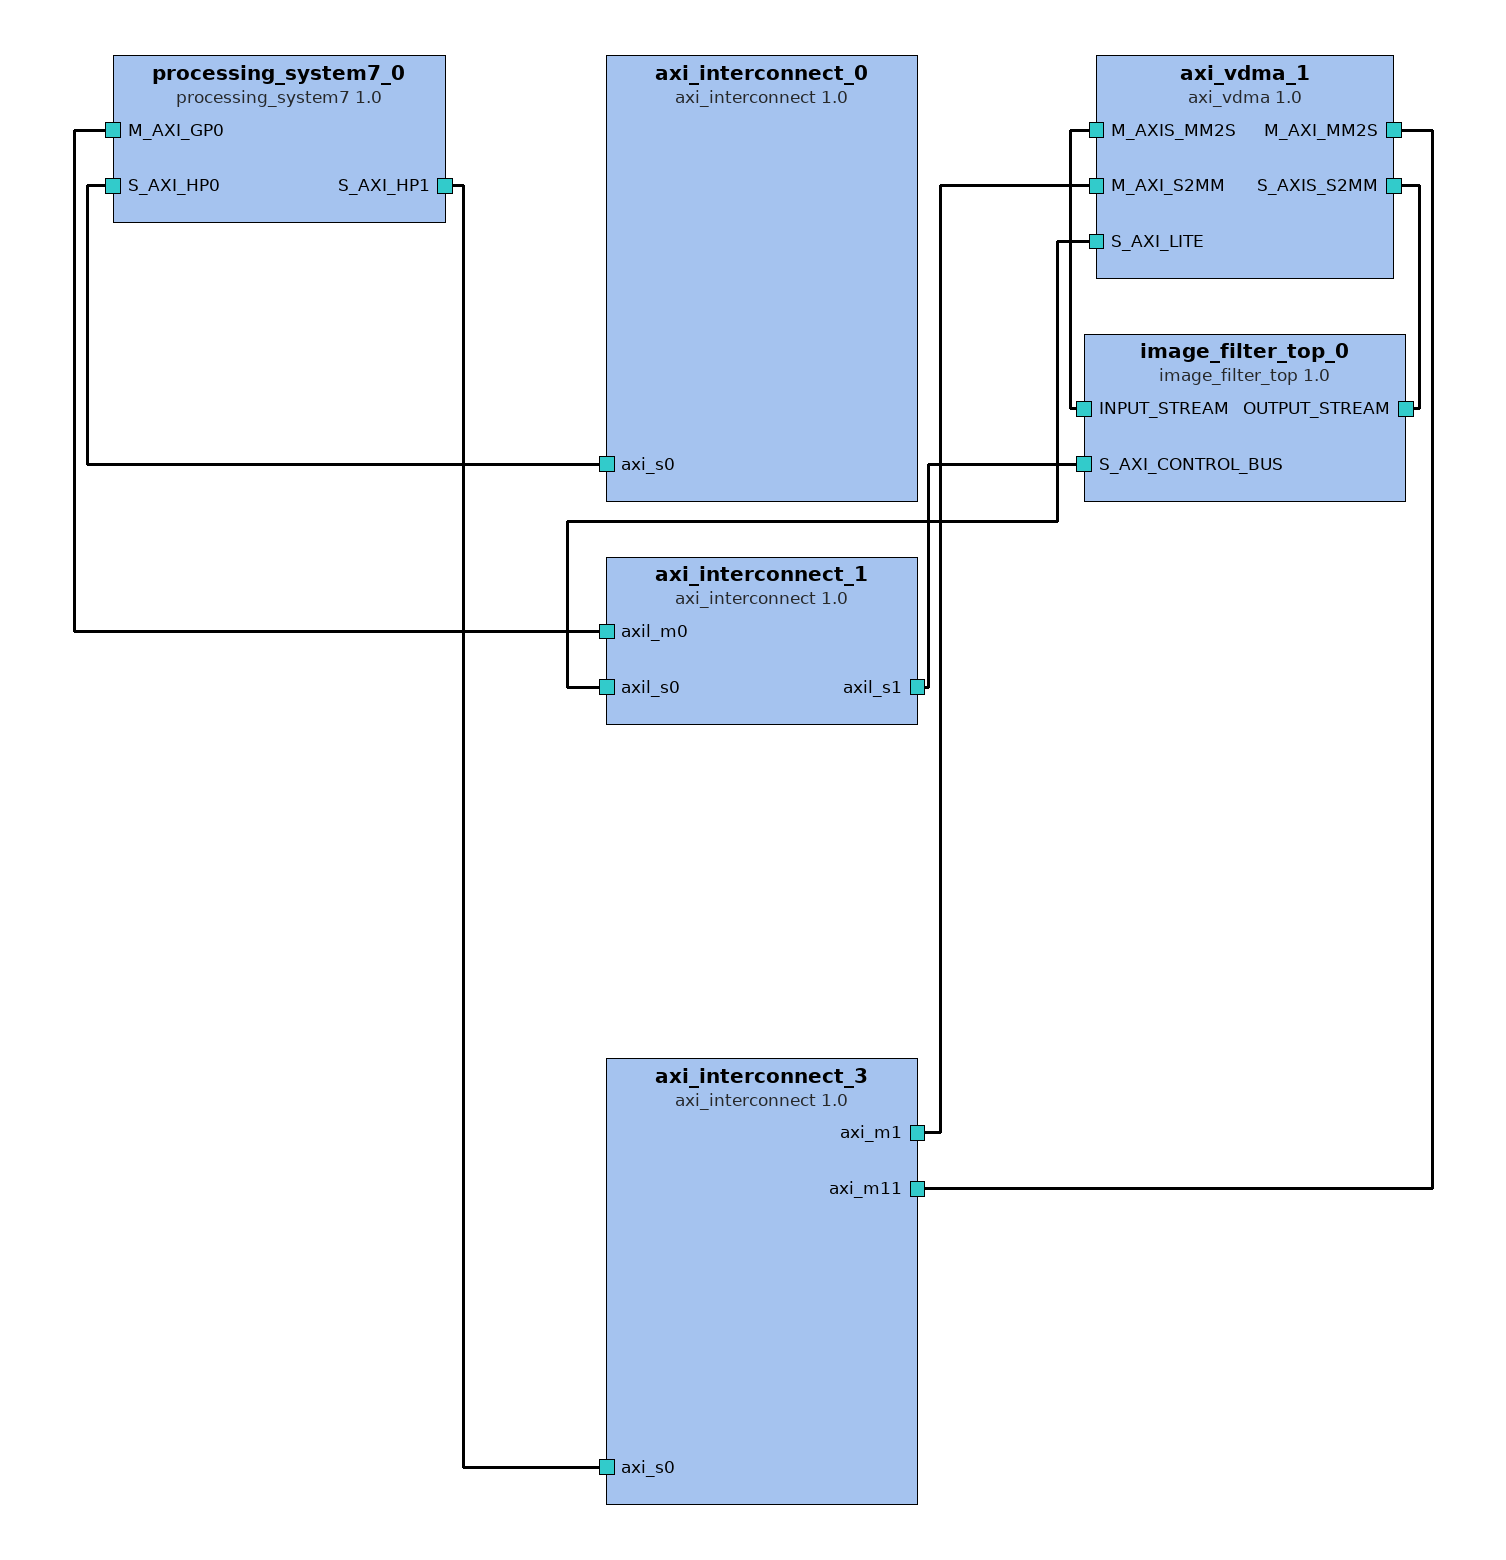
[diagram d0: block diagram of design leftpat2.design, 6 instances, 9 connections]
<?xml version="1.0" encoding="UTF-8"?>
<!-- Created by Kactus215:16:51 18.06.2014 -->
<spirit:design xmlns:kactus2="http://funbase.cs.tut.fi/" xmlns:spirit="http://www.spiritconsortium.org/XMLSchema/SPIRIT/1.5" xmlns:xsi="http://www.w3.org/2001/XMLSchema-instance" xsi:schemaLocation="http://www.spiritconsortium.org/XMLSchema/SPIRIT/1.5 http://www.spiritconsortium.org/XMLSchema/SPIRIT/1.5/index.xsd"><spirit:vendor>ARM</spirit:vendor><spirit:library>design</spirit:library><spirit:name>leftpat2.design</spirit:name>
 <spirit:version>1.0</spirit:version><spirit:componentInstances>
 <spirit:componentInstance><spirit:instanceName>image_filter_top_0</spirit:instanceName><spirit:componentRef spirit:vendor="ARM" spirit:library="ip" spirit:name="image_filter_top" spirit:version="1.0"/></spirit:componentInstance>
 <spirit:componentInstance><spirit:instanceName>axi_vdma_1</spirit:instanceName><spirit:componentRef spirit:vendor="ARM" spirit:library="ip" spirit:name="axi_vdma" spirit:version="1.0"/></spirit:componentInstance>
 <spirit:componentInstance><spirit:instanceName>axi_interconnect_3</spirit:instanceName><spirit:componentRef spirit:vendor="ARM" spirit:library="bus" spirit:name="axi_interconnect" spirit:version="1.0"/></spirit:componentInstance>
 <spirit:componentInstance><spirit:instanceName>axi_interconnect_0</spirit:instanceName><spirit:componentRef spirit:vendor="ARM" spirit:library="bus" spirit:name="axi_interconnect" spirit:version="1.0"/></spirit:componentInstance>
 <spirit:componentInstance><spirit:instanceName>axi_interconnect_1</spirit:instanceName><spirit:componentRef spirit:vendor="ARM" spirit:library="bus" spirit:name="axi_interconnect" spirit:version="1.0"/></spirit:componentInstance>
 <spirit:componentInstance><spirit:instanceName>processing_system7_0</spirit:instanceName><spirit:componentRef spirit:vendor="ARM" spirit:library="ip" spirit:name="processing_system7" spirit:version="1.0"/></spirit:componentInstance>
</spirit:componentInstances><spirit:interconnections>
 <spirit:interconnection><spirit:name>axi_vdma_1_M_AXI_MM2S_to_axi_interconnect_3_axi_m11</spirit:name><spirit:activeInterface spirit:componentRef="axi_vdma_1" spirit:busRef="M_AXI_MM2S"/><spirit:activeInterface spirit:componentRef="axi_interconnect_3" spirit:busRef="axi_m11"/></spirit:interconnection>
 <spirit:interconnection><spirit:name>axi_vdma_1_M_AXI_S2MM_to_axi_interconnect_3_axi_m1</spirit:name><spirit:activeInterface spirit:componentRef="axi_vdma_1" spirit:busRef="M_AXI_S2MM"/><spirit:activeInterface spirit:componentRef="axi_interconnect_3" spirit:busRef="axi_m1"/></spirit:interconnection>
 <spirit:interconnection><spirit:name>image_filter_top_0_OUTPUT_STREAM_to_axi_vdma_1_S_AXIS_S2MM</spirit:name><spirit:activeInterface spirit:componentRef="image_filter_top_0" spirit:busRef="OUTPUT_STREAM"/><spirit:activeInterface spirit:componentRef="axi_vdma_1" spirit:busRef="S_AXIS_S2MM"/></spirit:interconnection>
 <spirit:interconnection><spirit:name>image_filter_top_0_INPUT_STREAM_to_axi_vdma_1_M_AXIS_MM2S</spirit:name><spirit:activeInterface spirit:componentRef="image_filter_top_0" spirit:busRef="INPUT_STREAM"/><spirit:activeInterface spirit:componentRef="axi_vdma_1" spirit:busRef="M_AXIS_MM2S"/></spirit:interconnection>
 <spirit:interconnection><spirit:name>image_filter_top_0_S_AXI_CONTROL_BUS_to_axi_interconnect_1_axil_s1</spirit:name><spirit:activeInterface spirit:componentRef="image_filter_top_0" spirit:busRef="S_AXI_CONTROL_BUS"/><spirit:activeInterface spirit:componentRef="axi_interconnect_1" spirit:busRef="axil_s1"/></spirit:interconnection>
 <spirit:interconnection><spirit:name>axi_vdma_1_S_AXI_LITE_to_axi_interconnect_1_axil_s0</spirit:name><spirit:activeInterface spirit:componentRef="axi_vdma_1" spirit:busRef="S_AXI_LITE"/><spirit:activeInterface spirit:componentRef="axi_interconnect_1" spirit:busRef="axil_s0"/></spirit:interconnection>
 <spirit:interconnection><spirit:name>processing_system7_0_S_AXI_HP1_to_axi_interconnect_3_axi_s0</spirit:name><spirit:activeInterface spirit:componentRef="processing_system7_0" spirit:busRef="S_AXI_HP1"/><spirit:activeInterface spirit:componentRef="axi_interconnect_3" spirit:busRef="axi_s0"/></spirit:interconnection>
 <spirit:interconnection><spirit:name>processing_system7_0_S_AXI_HP0_to_axi_interconnect_0_axi_s0</spirit:name><spirit:activeInterface spirit:componentRef="processing_system7_0" spirit:busRef="S_AXI_HP0"/><spirit:activeInterface spirit:componentRef="axi_interconnect_0" spirit:busRef="axi_s0"/></spirit:interconnection>
 <spirit:interconnection><spirit:name>processing_system7_0_M_AXI_GP0_to_axi_interconnect_1_axil_m0</spirit:name><spirit:activeInterface spirit:componentRef="processing_system7_0" spirit:busRef="M_AXI_GP0"/><spirit:activeInterface spirit:componentRef="axi_interconnect_1" spirit:busRef="axil_m0"/></spirit:interconnection>
</spirit:interconnections></spirit:design>

